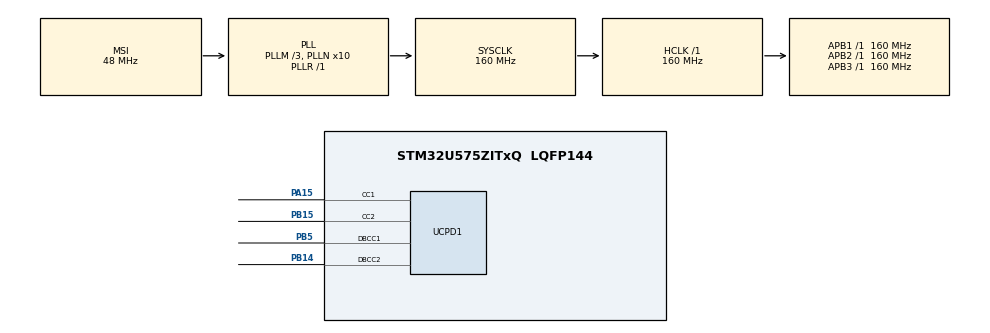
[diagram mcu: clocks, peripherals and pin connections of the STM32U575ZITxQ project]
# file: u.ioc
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CORTEX_M33_NS.userName=CORTEX_M33
GPDMA1.DESTINC_GPDMACH1=DMA_DINC_INCREMENTED
GPDMA1.IPHANDLE_GPDMACH0-SIMPLEREQUEST_GPDMACH0=__NULL
GPDMA1.IPHANDLE_GPDMACH1-SIMPLEREQUEST_GPDMACH1=__NULL
GPDMA1.REQUEST_GPDMACH0=GPDMA1_REQUEST_UCPD1_TX
GPDMA1.REQUEST_GPDMACH1=GPDMA1_REQUEST_UCPD1_RX
Mcu.Family=STM32U5
Mcu.Name=STM32U575ZITxQ
Mcu.Package=LQFP144
NUCLEO-U575ZI-Q.BUTTON=1
NUCLEO-U575ZI-Q.LD1=true
NUCLEO-U575ZI-Q.LD2=true
NUCLEO-U575ZI-Q.LD3=true
NUCLEO-U575ZI-Q.VCP=true
NVIC.EXTI13_IRQn=true\:0\:0\:false\:false\:true\:false\:true\:true
NVIC.GPDMA1_Channel0_IRQn=true\:0\:0\:false\:false\:true\:false\:true\:true
NVIC.GPDMA1_Channel1_IRQn=true\:0\:0\:false\:false\:true\:false\:true\:true
NVIC.PriorityGroup=NVIC_PRIORITYGROUP_3
NVIC.TIM16_IRQn=true\:5\:0\:false\:false\:true\:true\:true\:true
NVIC.TIM17_IRQn=true\:7\:0\:false\:false\:true\:false\:true\:true
NVIC.TimeBase=TIM17_IRQn
NVIC.TimeBaseIP=TIM17
NVIC.UCPD1_IRQn=true\:0\:0\:false\:false\:true\:true\:false\:true
PA10.Signal=USART1_RX
PA13\ (JTMS/SWDIO).Signal=DEBUG_JTMS-SWDIO
PA14\ (JTCK/SWCLK).Signal=DEBUG_JTCK-SWCLK
PA15\ (JTDI).Mode=Sink_AllSignals
PA15\ (JTDI).Signal=UCPD1_CC1
PA9.Signal=USART1_TX
PB14.Mode=EnableDeadBattery
PB14.Signal=UCPD1_DBCC2
PB15.Mode=Sink_AllSignals
PB15.Signal=UCPD1_CC2
PB3\ (JTDO/TRACESWO).Signal=DEBUG_JTDO-SWO
PB5.Mode=EnableDeadBattery
PB5.Signal=UCPD1_DBCC1
PC14-OSC32_IN\ (PC14).Mode=LSE-External-Oscillator-for-RTC
PC14-OSC32_IN\ (PC14).Signal=RCC_OSC32_IN
PC15-OSC32_OUT\ (PC15).Mode=LSE-External-Oscillator-for-RTC
PC15-OSC32_OUT\ (PC15).Signal=RCC_OSC32_OUT
PH0-OSC_IN\ (PH0).Mode=HSE-External-Oscillator
PH0-OSC_IN\ (PH0).Signal=RCC_OSC_IN
PH1-OSC_OUT\ (PH1).Mode=HSE-External-Oscillator
PH1-OSC_OUT\ (PH1).Signal=RCC_OSC_OUT
PWR.PowerMode=PWR_SMPS_SUPPLY
ProjectManager.HeapSize=0x200
ProjectManager.StackSize=0x400
ProjectManager.TargetToolchain=STM32CubeIDE
RCC.ADCFreq_Value=16000000
RCC.AHBFreq_Value=160000000
RCC.APB1Freq_Value=160000000
RCC.APB1TimFreq_Value=160000000
RCC.APB2Freq_Value=160000000
RCC.APB2TimFreq_Value=160000000
RCC.APB3Freq_Value=160000000
RCC.CortexFreq_Value=160000000
RCC.DACCLockSelectionVirtual=RCC_DAC1CLKSOURCE_LSI
RCC.EPOD_VALUE=48000000
RCC.HCLKFreq_Value=160000000
RCC.HSE_VALUE=16000000
RCC.HSI48_VALUE=48000000
RCC.HSI_VALUE=16000000
RCC.LSIDIV_VALUE=32000
RCC.MSIClockRange=RCC_MSIRANGE_0
RCC.MSI_VALUE=48000000
RCC.PLL1R=1
RCC.PLLFRACN=0
RCC.PLLM=3
RCC.PLLN=10
RCC.SYSCLKFreq_VALUE=160000000
RCC.SYSCLKSource=RCC_SYSCLKSOURCE_PLLCLK
RCC.USBFreq_Value=48000000
RCC.VCOOutputFreq_Value=160000000
TIM16.AutoReloadPreload=TIM_AUTORELOAD_PRELOAD_ENABLE
TIM16.PeriodNoDither=2499
TIM16.Prescaler=15999
VP_GPDMA1_VS_GPDMACH0.Mode=SIMPLEREQUEST_GPDMACH0
VP_GPDMA1_VS_GPDMACH1.Mode=SIMPLEREQUEST_GPDMACH1
VP_ICACHE_VS_ENABLE_ICACHE_MEMORY.Mode=Memoryregions
VP_ICACHE_VS_ICACHE.Mode=DirectMappedCache
VP_LPBAMQUEUE_VS_QUEUE.Mode=QUEUEMODE
VP_LPBAM_VS_SIG1.Mode=SmartRun
VP_LPBAM_VS_SIG4.Mode=LPDMA1
VP_MEMORYMAP_VS_MEMORYMAP.Mode=CurAppReg
VP_NUCLEO-U575ZI-Q_VS_BSP_COMMON.Mode=COMMON
VP_PWR_VS_DBSignals.Mode=DisableDeadBatterySignals
VP_PWR_VS_LPOM.Mode=PowerOptimisation
VP_PWR_VS_SECSignals.Mode=Security/Privilege
VP_SYS_VS_tim17.Mode=TIM17
VP_TIM16_VS_ClockSourceINT.Mode=Enable_Timer
board=NUCLEO-U575ZI-Q

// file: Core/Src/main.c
/* USER CODE BEGIN Header */
/**
  ******************************************************************************
  * @file           : main.c
  * @brief          : Main program body
  ******************************************************************************
  * @attention
  *
  * Copyright (c) 2026 STMicroelectronics.
  * All rights reserved.
  *
  * This software is licensed under terms that can be found in the LICENSE file
  * in the root directory of this software component.
  * If no LICENSE file comes with this software, it is provided AS-IS.
  *
  ******************************************************************************
  */
/* USER CODE END Header */
#include "main.h"

/* USER CODE BEGIN Includes */
#include "pd_bm.h"
/* USER CODE END Includes */

COM_InitTypeDef BspCOMInit;

TIM_HandleTypeDef htim16;

/* USER CODE BEGIN PV */
static uint16_t pd_app_rx_dma_size;

/* USER CODE END PV */

void SystemClock_Config(void);
static void SystemPower_Config(void);
static void MX_GPIO_Init(void);
static void MX_GPDMA1_Init(void);
static void MX_ICACHE_Init(void);
static void MX_UCPD1_Init(void);
static void MX_TIM16_Init(void);
/* USER CODE BEGIN PFP */
static uint32_t PD_App_GetTick(void *user);
static void PD_App_RxDmaStart(uint8_t *buffer, uint16_t size, void *user);
static void PD_App_RxDmaStop(void *user);
static uint16_t PD_App_RxDmaCount(void *user);
/* USER CODE END PFP */

int main(void)
{

  /* MCU Configuration--------------------------------------------------------*/

  /* Reset of all peripherals, Initializes the Flash interface and the Systick. */
  HAL_Init();

  /* Configure the System Power */
  SystemPower_Config();

  /* Configure the system clock */
  SystemClock_Config();

  /* Initialize all configured peripherals */
  MX_GPIO_Init();
  MX_GPDMA1_Init();
  MX_ICACHE_Init();
  MX_UCPD1_Init();
  MX_TIM16_Init();
  /* USER CODE BEGIN 2 */
  if (HAL_TIM_Base_Start_IT(&htim16) != HAL_OK)
  {
    Error_Handler();
  }

  /* USER CODE END 2 */

  /* Initialize leds */
  BSP_LED_Init(LED_GREEN);
  BSP_LED_Init(LED_BLUE);
  BSP_LED_Init(LED_RED);

  /* Initialize USER push-button, will be used to trigger an interrupt each time it's pressed.*/
  BSP_PB_Init(BUTTON_USER, BUTTON_MODE_EXTI);

  /* Initialize COM1 port (115200, 8 bits (7-bit data + 1 stop bit), no parity */
  BspCOMInit.BaudRate   = 115200;
  BspCOMInit.WordLength = COM_WORDLENGTH_8B;
  BspCOMInit.StopBits   = COM_STOPBITS_1;
  BspCOMInit.Parity     = COM_PARITY_NONE;
  BspCOMInit.HwFlowCtl  = COM_HWCONTROL_NONE;
  if (BSP_COM_Init(COM1, &BspCOMInit) != BSP_ERROR_NONE)
  {
    Error_Handler();
  }

  /* USER CODE BEGIN PD_App_Init */
  {
    static LL_UCPD_InitTypeDef pd_ucpd_init;
    static PD_BM_Config pd_config;

    LL_UCPD_StructInit(&pd_ucpd_init);

    pd_config.ucpd = UCPD1;
    pd_config.ucpd_init = &pd_ucpd_init;
    pd_config.get_tick_ms = PD_App_GetTick;
    pd_config.rx_dma_start = PD_App_RxDmaStart;
    pd_config.rx_dma_stop = PD_App_RxDmaStop;
    pd_config.rx_dma_count = PD_App_RxDmaCount;
    pd_config.trace = NULL;
    pd_config.user = NULL;
    pd_config.get_source_cap_interval_ms = 500U;
    pd_config.attach_debounce_ms = 40U;

    pd_config.profiles[0] = (PD_BM_Profile){ 5000U, 500U, 1U };
    pd_config.profiles[1] = (PD_BM_Profile){ 9000U, 1000U, 1U };
    pd_config.profiles[2] = (PD_BM_Profile){ 12000U, 1000U, 1U };
    pd_config.profiles[3] = (PD_BM_Profile){ 20000U, 1000U, 1U };
    pd_config.profiles[4] = (PD_BM_Profile){ 28000U, 3000U, 1U };

    if (PD_BM_Init(&pd_config) == 0U)
    {
      BSP_LED_On(LED_RED);
      Error_Handler();
    }

    BSP_LED_On(LED_BLUE);
    HAL_PWREx_DisableUCPDDeadBattery();
  }
  /* USER CODE END PD_App_Init */

  /* Infinite loop */
  while (1)
  {

    /* USER CODE BEGIN 3 */
	  static uint32_t led_last_tick = 0U;
	      static uint8_t pd_reported_profile = 0xFFU;
	      static uint16_t pd_reported_voltage_mv = 0U;
	      static uint16_t pd_reported_current_ma = 0U;
	      static uint8_t pd_was_connected = 0U;
	      static uint8_t pd_detach_reported = 0U;
	      static uint32_t pd_detached_since_tick = 0U;
	      PD_BM_State pd_state;
	      uint32_t led_interval = 0U;

	      if (PD_BM_NeedsService() != 0U)
	      {
	        PD_BM_Task();
	      }

	      pd_state = PD_BM_GetState();

	      if (pd_state == PD_BM_STATE_DETACHED)
	      {
	        if (pd_was_connected != 0U)
	        {
	          if (pd_detached_since_tick == 0U)
	          {
	            pd_detached_since_tick = HAL_GetTick();
	            if (pd_detached_since_tick == 0U)
	            {
	              pd_detached_since_tick = 1U;
	            }
	          }
	          else if ((pd_detach_reported == 0U)
	              && ((HAL_GetTick() - pd_detached_since_tick) >= 500U))
	          {
	            pd_detach_reported = 1U;
	            pd_was_connected = 0U;
	            printf("USB-PD detached\r\n");
	          }
	        }
	      }
	      else
	      {
	        pd_was_connected = 1U;
	        pd_detach_reported = 0U;
	        pd_detached_since_tick = 0U;
	      }

	      switch (pd_state)
	      {
	        case PD_BM_STATE_DETACHED:
	          BSP_LED_Off(LED_GREEN);
	          pd_reported_profile = 0xFFU;
	          pd_reported_voltage_mv = 0U;
	          pd_reported_current_ma = 0U;
	          break;

	        case PD_BM_STATE_ATTACHED:
	          BSP_LED_On(LED_GREEN);
	          break;

	        case PD_BM_STATE_RX_ACTIVITY:
	          led_interval = 500U;
	          break;

	        case PD_BM_STATE_SRC_CAP_RX:
	        case PD_BM_STATE_REQUEST_SENT:
	          led_interval = 120U;
	          break;

	        case PD_BM_STATE_ACCEPT_RX:
	          led_interval = 300U;
	          break;

	        case PD_BM_STATE_READY:
	        case PD_BM_STATE_EPR_READY:
	        case PD_BM_STATE_PS_RDY_RX:
	          led_interval = 1000U;
	          break;

	        case PD_BM_STATE_ERROR:
	        default:
	          led_interval = 50U;
	          break;
	      }

	      if ((pd_state == PD_BM_STATE_READY) || (pd_state == PD_BM_STATE_EPR_READY))
	      {
	        uint8_t active_profile = PD_BM_GetActiveProfile();
	        uint16_t voltage_mv = PD_BM_GetRequestedVoltage();
	        uint16_t current_ma = PD_BM_GetRequestedCurrent();

	        if ((active_profile != 0xFFU) && (voltage_mv != 0U) && (current_ma != 0U)
	            && ((active_profile != pd_reported_profile)
	            || (voltage_mv != pd_reported_voltage_mv)
	            || (current_ma != pd_reported_current_ma)))
	        {
	          pd_reported_profile = active_profile;
	          pd_reported_voltage_mv = voltage_mv;
	          pd_reported_current_ma = current_ma;
	          if ((pd_state == PD_BM_STATE_EPR_READY) && (active_profile == 4U)
	              && (voltage_mv == 28000U))
	          {
	            printf("USB-PD ready: profile=%u, voltage=%u mV, current=%u mA\r\n",
	                active_profile, voltage_mv, current_ma);
	          }
	          else
	          {
	            printf("USB-PD fallback: profile=%u, voltage=%u mV, current=%u mA\r\n",
	                active_profile, voltage_mv, current_ma);
	          }
	        }
	      }

	      if ((led_interval != 0U) && ((HAL_GetTick() - led_last_tick) >= led_interval))
	      {
	        led_last_tick = HAL_GetTick();
	        BSP_LED_Toggle(LED_GREEN);
	      }
	    }
  /* USER CODE END 3 */
}

void SystemClock_Config(void)
{
  RCC_OscInitTypeDef RCC_OscInitStruct = {0};
  RCC_ClkInitTypeDef RCC_ClkInitStruct = {0};

  /** Configure the main internal regulator output voltage
  */
  if (HAL_PWREx_ControlVoltageScaling(PWR_REGULATOR_VOLTAGE_SCALE1) != HAL_OK)
  {
    Error_Handler();
  }

  /** Initializes the CPU, AHB and APB buses clocks
  */
  RCC_OscInitStruct.OscillatorType = RCC_OSCILLATORTYPE_HSI|RCC_OSCILLATORTYPE_MSI;
  RCC_OscInitStruct.HSIState = RCC_HSI_ON;
  RCC_OscInitStruct.HSICalibrationValue = RCC_HSICALIBRATION_DEFAULT;
  RCC_OscInitStruct.MSIState = RCC_MSI_ON;
  RCC_OscInitStruct.MSICalibrationValue = RCC_MSICALIBRATION_DEFAULT;
  RCC_OscInitStruct.MSIClockRange = RCC_MSIRANGE_0;
  RCC_OscInitStruct.PLL.PLLState = RCC_PLL_ON;
  RCC_OscInitStruct.PLL.PLLSource = RCC_PLLSOURCE_MSI;
  RCC_OscInitStruct.PLL.PLLMBOOST = RCC_PLLMBOOST_DIV4;
  RCC_OscInitStruct.PLL.PLLM = 3;
  RCC_OscInitStruct.PLL.PLLN = 10;
  RCC_OscInitStruct.PLL.PLLP = 2;
  RCC_OscInitStruct.PLL.PLLQ = 2;
  RCC_OscInitStruct.PLL.PLLR = 1;
  RCC_OscInitStruct.PLL.PLLRGE = RCC_PLLVCIRANGE_1;
  RCC_OscInitStruct.PLL.PLLFRACN = 0;
  if (HAL_RCC_OscConfig(&RCC_OscInitStruct) != HAL_OK)
  {
    Error_Handler();
  }

  /** Initializes the CPU, AHB and APB buses clocks
  */
  RCC_ClkInitStruct.ClockType = RCC_CLOCKTYPE_HCLK|RCC_CLOCKTYPE_SYSCLK
                              |RCC_CLOCKTYPE_PCLK1|RCC_CLOCKTYPE_PCLK2
                              |RCC_CLOCKTYPE_PCLK3;
  RCC_ClkInitStruct.SYSCLKSource = RCC_SYSCLKSOURCE_PLLCLK;
  RCC_ClkInitStruct.AHBCLKDivider = RCC_SYSCLK_DIV1;
  RCC_ClkInitStruct.APB1CLKDivider = RCC_HCLK_DIV1;
  RCC_ClkInitStruct.APB2CLKDivider = RCC_HCLK_DIV1;
  RCC_ClkInitStruct.APB3CLKDivider = RCC_HCLK_DIV1;

  if (HAL_RCC_ClockConfig(&RCC_ClkInitStruct, FLASH_LATENCY_4) != HAL_OK)
  {
    Error_Handler();
  }
}

/**
  * @brief Power Configuration
  * @retval None
  */
static void SystemPower_Config(void)
{

  /*
   * Switch to SMPS regulator instead of LDO
   */
  if (HAL_PWREx_ConfigSupply(PWR_SMPS_SUPPLY) != HAL_OK)
  {
    Error_Handler();
  }
}

static void MX_GPDMA1_Init(void)
{

  /* Peripheral clock enable */
  __HAL_RCC_GPDMA1_CLK_ENABLE();

  /* GPDMA1 interrupt Init */
    HAL_NVIC_SetPriority(GPDMA1_Channel0_IRQn, 0, 0);
    HAL_NVIC_EnableIRQ(GPDMA1_Channel0_IRQn);
    HAL_NVIC_SetPriority(GPDMA1_Channel1_IRQn, 0, 0);
    HAL_NVIC_EnableIRQ(GPDMA1_Channel1_IRQn);

}

static void MX_ICACHE_Init(void)
{

  /** Enable instruction cache in 1-way (direct mapped cache)
  */
  if (HAL_ICACHE_ConfigAssociativityMode(ICACHE_1WAY) != HAL_OK)
  {
    Error_Handler();
  }
  if (HAL_ICACHE_Enable() != HAL_OK)
  {
    Error_Handler();
  }

}

static void MX_TIM16_Init(void)
{

  htim16.Instance = TIM16;
  htim16.Init.Prescaler = 15999;
  htim16.Init.CounterMode = TIM_COUNTERMODE_UP;
  htim16.Init.Period = 2499;
  htim16.Init.ClockDivision = TIM_CLOCKDIVISION_DIV1;
  htim16.Init.RepetitionCounter = 0;
  htim16.Init.AutoReloadPreload = TIM_AUTORELOAD_PRELOAD_ENABLE;
  if (HAL_TIM_Base_Init(&htim16) != HAL_OK)
  {
    Error_Handler();
  }

}

static void MX_UCPD1_Init(void)
{

  LL_GPIO_InitTypeDef GPIO_InitStruct = {0};
  LL_DMA_InitTypeDef DMA_InitStruct = {0};

  /* Peripheral clock enable */
  LL_APB1_GRP2_EnableClock(LL_APB1_GRP2_PERIPH_UCPD1);

  LL_AHB2_GRP1_EnableClock(LL_AHB2_GRP1_PERIPH_GPIOB);
  LL_AHB2_GRP1_EnableClock(LL_AHB2_GRP1_PERIPH_GPIOA);
  /**UCPD1 GPIO Configuration
  PB15   ------> UCPD1_CC2
  PA15 (JTDI)   ------> UCPD1_CC1
  */
  GPIO_InitStruct.Pin = LL_GPIO_PIN_15;
  GPIO_InitStruct.Mode = LL_GPIO_MODE_ANALOG;
  GPIO_InitStruct.Pull = LL_GPIO_PULL_NO;
  LL_GPIO_Init(GPIOB, &GPIO_InitStruct);

  GPIO_InitStruct.Pin = LL_GPIO_PIN_15;
  GPIO_InitStruct.Mode = LL_GPIO_MODE_ANALOG;
  GPIO_InitStruct.Pull = LL_GPIO_PULL_NO;
  LL_GPIO_Init(GPIOA, &GPIO_InitStruct);

  /* UCPD1 DMA Init */

  /* GPDMA1_REQUEST_UCPD1_RX Init */
  DMA_InitStruct.SrcAddress = 0x00000000U;
  DMA_InitStruct.DestAddress = 0x00000000U;
  DMA_InitStruct.Direction = LL_DMA_DIRECTION_PERIPH_TO_MEMORY;
  DMA_InitStruct.BlkHWRequest = LL_DMA_HWREQUEST_SINGLEBURST;
  DMA_InitStruct.DataAlignment = LL_DMA_DATA_ALIGN_ZEROPADD;
  DMA_InitStruct.SrcBurstLength = 1;
  DMA_InitStruct.DestBurstLength = 1;
  DMA_InitStruct.SrcDataWidth = LL_DMA_SRC_DATAWIDTH_BYTE;
  DMA_InitStruct.DestDataWidth = LL_DMA_DEST_DATAWIDTH_BYTE;
  DMA_InitStruct.SrcIncMode = LL_DMA_SRC_FIXED;
  DMA_InitStruct.DestIncMode = LL_DMA_DEST_INCREMENT;
  DMA_InitStruct.Priority = LL_DMA_LOW_PRIORITY_LOW_WEIGHT;
  DMA_InitStruct.BlkDataLength = 0x00000000U;
  DMA_InitStruct.TriggerMode = LL_DMA_TRIGM_BLK_TRANSFER;
  DMA_InitStruct.TriggerPolarity = LL_DMA_TRIG_POLARITY_MASKED;
  DMA_InitStruct.TriggerSelection = 0x00000000U;
  DMA_InitStruct.Request = LL_GPDMA1_REQUEST_UCPD1_RX;
  DMA_InitStruct.TransferEventMode = LL_DMA_TCEM_BLK_TRANSFER;
  DMA_InitStruct.SrcAllocatedPort = LL_DMA_SRC_ALLOCATED_PORT0;
  DMA_InitStruct.DestAllocatedPort = LL_DMA_DEST_ALLOCATED_PORT0;
  DMA_InitStruct.LinkAllocatedPort = LL_DMA_LINK_ALLOCATED_PORT1;
  DMA_InitStruct.LinkStepMode = LL_DMA_LSM_FULL_EXECUTION;
  DMA_InitStruct.LinkedListBaseAddr = 0x00000000U;
  DMA_InitStruct.LinkedListAddrOffset = 0x00000000U;
  LL_DMA_Init(GPDMA1, LL_DMA_CHANNEL_1, &DMA_InitStruct);

  /* GPDMA1_REQUEST_UCPD1_TX Init */
  DMA_InitStruct.SrcAddress = 0x00000000U;
  DMA_InitStruct.DestAddress = 0x00000000U;
  DMA_InitStruct.Direction = LL_DMA_DIRECTION_PERIPH_TO_MEMORY;
  DMA_InitStruct.BlkHWRequest = LL_DMA_HWREQUEST_SINGLEBURST;
  DMA_InitStruct.DataAlignment = LL_DMA_DATA_ALIGN_ZEROPADD;
  DMA_InitStruct.SrcBurstLength = 1;
  DMA_InitStruct.DestBurstLength = 1;
  DMA_InitStruct.SrcDataWidth = LL_DMA_SRC_DATAWIDTH_BYTE;
  DMA_InitStruct.DestDataWidth = LL_DMA_DEST_DATAWIDTH_BYTE;
  DMA_InitStruct.SrcIncMode = LL_DMA_SRC_FIXED;
  DMA_InitStruct.DestIncMode = LL_DMA_DEST_FIXED;
  DMA_InitStruct.Priority = LL_DMA_LOW_PRIORITY_LOW_WEIGHT;
  DMA_InitStruct.BlkDataLength = 0x00000000U;
  DMA_InitStruct.TriggerMode = LL_DMA_TRIGM_BLK_TRANSFER;
  DMA_InitStruct.TriggerPolarity = LL_DMA_TRIG_POLARITY_MASKED;
  DMA_InitStruct.TriggerSelection = 0x00000000U;
  DMA_InitStruct.Request = LL_GPDMA1_REQUEST_UCPD1_TX;
  DMA_InitStruct.TransferEventMode = LL_DMA_TCEM_BLK_TRANSFER;
  DMA_InitStruct.SrcAllocatedPort = LL_DMA_SRC_ALLOCATED_PORT0;
  DMA_InitStruct.DestAllocatedPort = LL_DMA_DEST_ALLOCATED_PORT0;
  DMA_InitStruct.LinkAllocatedPort = LL_DMA_LINK_ALLOCATED_PORT1;
  DMA_InitStruct.LinkStepMode = LL_DMA_LSM_FULL_EXECUTION;
  DMA_InitStruct.LinkedListBaseAddr = 0x00000000U;
  DMA_InitStruct.LinkedListAddrOffset = 0x00000000U;
  LL_DMA_Init(GPDMA1, LL_DMA_CHANNEL_0, &DMA_InitStruct);

  /* UCPD1 interrupt Init */
  NVIC_SetPriority(UCPD1_IRQn, NVIC_EncodePriority(NVIC_GetPriorityGrouping(),0, 0));
  NVIC_EnableIRQ(UCPD1_IRQn);

}

static void MX_GPIO_Init(void)
{

  /* GPIO Ports Clock Enable */
  __HAL_RCC_GPIOC_CLK_ENABLE();
  __HAL_RCC_GPIOH_CLK_ENABLE();
  __HAL_RCC_GPIOB_CLK_ENABLE();
  __HAL_RCC_GPIOA_CLK_ENABLE();

}

/* USER CODE BEGIN 4 */
static uint32_t PD_App_GetTick(void *user)
{
  (void)user;
  return HAL_GetTick();
}

static void PD_App_RxDmaStart(uint8_t *buffer, uint16_t size, void *user)
{
  (void)user;

  pd_app_rx_dma_size = size;

  LL_DMA_DisableChannel(GPDMA1, LL_DMA_CHANNEL_1);

  LL_DMA_SetSrcAddress(GPDMA1, LL_DMA_CHANNEL_1, (uint32_t)&UCPD1->RXDR);
  LL_DMA_SetDestAddress(GPDMA1, LL_DMA_CHANNEL_1, (uint32_t)buffer);
  LL_DMA_SetBlkDataLength(GPDMA1, LL_DMA_CHANNEL_1, size);

  LL_DMA_EnableChannel(GPDMA1, LL_DMA_CHANNEL_1);
}

static void PD_App_RxDmaStop(void *user)
{
  (void)user;
  LL_DMA_DisableChannel(GPDMA1, LL_DMA_CHANNEL_1);
}

static uint16_t PD_App_RxDmaCount(void *user)
{
  (void)user;

  return (uint16_t)(pd_app_rx_dma_size -
                    LL_DMA_GetBlkDataLength(GPDMA1, LL_DMA_CHANNEL_1));
}

/* USER CODE END 4 */

void HAL_TIM_PeriodElapsedCallback(TIM_HandleTypeDef *htim)
{
  if (htim->Instance == TIM17)
  {
    HAL_IncTick();
  }
  /* USER CODE BEGIN Callback 1 */
  if (htim->Instance == TIM16)
  {
    PD_BM_TimerTickISR();
  }

  /* USER CODE END Callback 1 */
}

void Error_Handler(void)
{
  __disable_irq();
  while (1)
  {
  }
}
